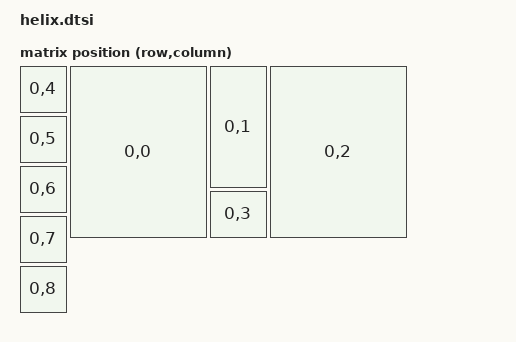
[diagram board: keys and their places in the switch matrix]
#include <dt-bindings/zmk/matrix_transform.h>
#include <physical_layouts.dtsi>

/ {
    chosen {
        zmk,matrix-transform = <&default_transform>;
        zmk,physical-layout = <&physical_layout0>;
    };

    default_transform: default_transform {
        compatible = "zmk,matrix-transform";
        rows = <1>;
        columns = <9>;
        map = <
            RC(0,0) RC(0,1) RC(0,2) RC(0,3)
            RC(0,4) RC(0,5) RC(0,6) RC(0,7)
            RC(0,8)
        >;
    };

    physical_layout0: physical_layout_0 {
        compatible = "zmk,physical-layout";
        display-name = "helix-layout";
        transform = <&default_transform>;

        keys  //                     w    h    x    y   rot   rx   ry
            = <&key_physical_attrs 280 350  100    0    0    0    0>  /* 0: LMB */
            , <&key_physical_attrs 120 250  380    0    0    0    0>  /* 1: MMB (scroll click) */
            , <&key_physical_attrs 280 350  500    0    0    0    0>  /* 2: RMB */
            , <&key_physical_attrs 120 100  380  250    0    0    0>  /* 3: DPI (below scroll) */
            , <&key_physical_attrs 100 100    0    0    0    0    0>  /* 4: Btn5 (top of module) */
            , <&key_physical_attrs 100 100    0  100    0    0    0>  /* 5: Btn4 */
            , <&key_physical_attrs 100 100    0  200    0    0    0>  /* 6: Btn3 */
            , <&key_physical_attrs 100 100    0  300    0    0    0>  /* 7: Btn2 */
            , <&key_physical_attrs 100 100    0  400    0    0    0>  /* 8: Btn1 (bottom of module) */
            ;
    };

    esb_split {
        compatible = "zmk,esb-split";
        base-addr-0 = <0xE7 0xE7 0xE7 0xE7>;
        base-addr-1 = <0xC2 0xC2 0xC2 0xC2>;
        addr-prefix = <0xE7 0xC2 0xC3 0xC4 0xC5 0xC6 0xC7 0xC8>;
    };
};
